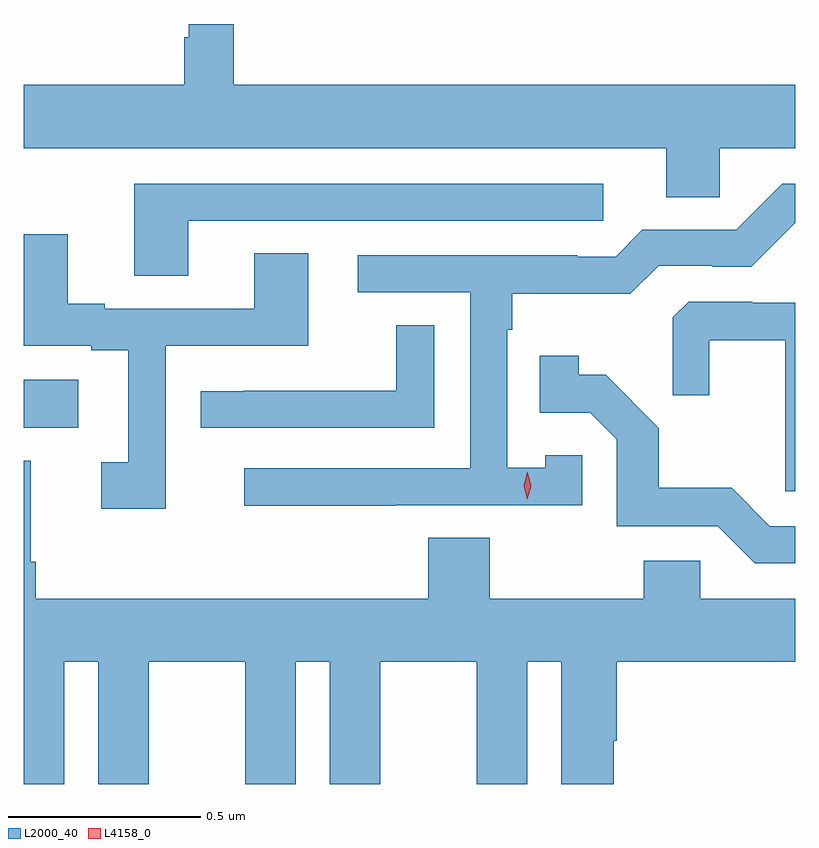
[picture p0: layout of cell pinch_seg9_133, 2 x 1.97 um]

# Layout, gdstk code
import gdstk
lib = gdstk.Library(unit=1e-6, precision=1e-09)
def R(c, l, rs):  # rectangles x0, y0, x1, y1
    for r in rs: c.add(gdstk.rectangle(r[:2], r[2:], *l))
def P(c, l, *ps):  # polygons
    for p in ps: c.add(gdstk.Polygon(p, *l))
L2000_40 = (2000, 40)
L4158_0 = (4158, 0)

pinch_seg9_133 = lib.new_cell('pinch_seg9_133')
R(pinch_seg9_133, L2000_40, [(797.119,1246.311,797.26,1246.435)])
P(pinch_seg9_133, L2000_40, [(798.924,1247.036),(799.119,1247.036),(799.119,1247.2),(797.663,1247.2),(797.663,1247.358),(797.546,1247.358),(797.546,1247.324),(797.535,1247.324),(797.535,1247.2),(797.119,1247.2),(797.119,1247.036),(798.785,1247.036),(798.785,1246.909),(798.924,1246.909)],
  [(797.545,1246.848),(798.622,1246.848),(798.622,1246.944),(797.405,1246.944),(797.405,1246.705),(797.545,1246.705)],
  [(798.083,1246.11),(798.567,1246.11),(798.567,1246.239),(798.471,1246.239),(798.471,1246.207),(798.372,1246.207),(798.372,1246.565),(798.385,1246.565),(798.385,1246.658),(798.692,1246.658),(798.765,1246.731),(798.904,1246.731),(798.904,1246.728),(799.005,1246.728),(799.119,1246.842),(799.119,1246.944),(799.086,1246.944),(798.966,1246.824),(798.723,1246.824),(798.654,1246.755),(798.554,1246.755),(798.554,1246.758),(797.985,1246.758),(797.985,1246.662),(798.276,1246.662),(798.276,1246.206),(797.691,1246.206),(797.691,1246.108),(798.083,1246.108)],
  [(797.487,1246.524),(797.857,1246.524),(797.857,1246.763),(797.717,1246.763),(797.717,1246.62),(797.329,1246.62),(797.329,1246.633),(797.233,1246.633),(797.233,1246.813),(797.119,1246.813),(797.119,1246.524),(797.294,1246.524),(797.294,1246.512),(797.39,1246.512),(797.39,1246.221),(797.319,1246.221),(797.319,1246.101),(797.487,1246.101)],
  [(799.119,1246.635),(799.008,1246.635),(799.008,1246.638),(798.843,1246.638),(798.802,1246.597),(798.802,1246.395),(798.896,1246.395),(798.896,1246.538),(799.094,1246.538),(799.094,1246.146),(799.119,1246.146)],
  [(798.183,1246.577),(798.085,1246.577),(798.085,1246.407),(797.689,1246.407),(797.689,1246.406),(797.577,1246.406),(797.577,1246.311),(798.183,1246.311)],
  [(799.119,1246.056),(799.053,1246.056),(798.955,1246.155),(798.766,1246.155),(798.766,1246.31),(798.628,1246.448),(798.558,1246.448),(798.558,1246.498),(798.457,1246.498),(798.457,1246.35),(798.588,1246.35),(798.657,1246.281),(798.657,1246.056),(798.918,1246.056),(799.014,1245.96),(799.119,1245.96)],
  [(797.224,1245.704),(797.312,1245.704),(797.312,1245.387),(797.443,1245.387),(797.443,1245.704),(797.693,1245.704),(797.693,1245.387),(797.824,1245.387),(797.824,1245.704),(797.912,1245.704),(797.912,1245.387),(798.043,1245.387),(798.043,1245.704),(798.293,1245.704),(798.293,1245.387),(798.424,1245.387),(798.424,1245.704),(798.512,1245.704),(798.512,1245.387),(798.649,1245.387),(798.649,1245.499),(798.656,1245.499),(798.656,1245.704),(799.119,1245.704),(799.119,1245.868),(798.873,1245.868),(798.873,1245.966),(798.727,1245.966),(798.727,1245.868),(798.327,1245.868),(798.327,1246.025),(798.167,1246.025),(798.167,1245.868),(797.15,1245.868),(797.15,1245.964),(797.137,1245.964),(797.137,1246.225),(797.119,1246.225),(797.119,1245.387),(797.224,1245.387)])
P(pinch_seg9_133, L4158_0, [(798.425,1246.125),(798.425,1246.126),(798.415,1246.161),(798.425,1246.197),(798.425,1246.197),(798.425,1246.197),(798.435,1246.161),(798.425,1246.126)])

lib.write_gds('pinch_seg9_133.gds')
